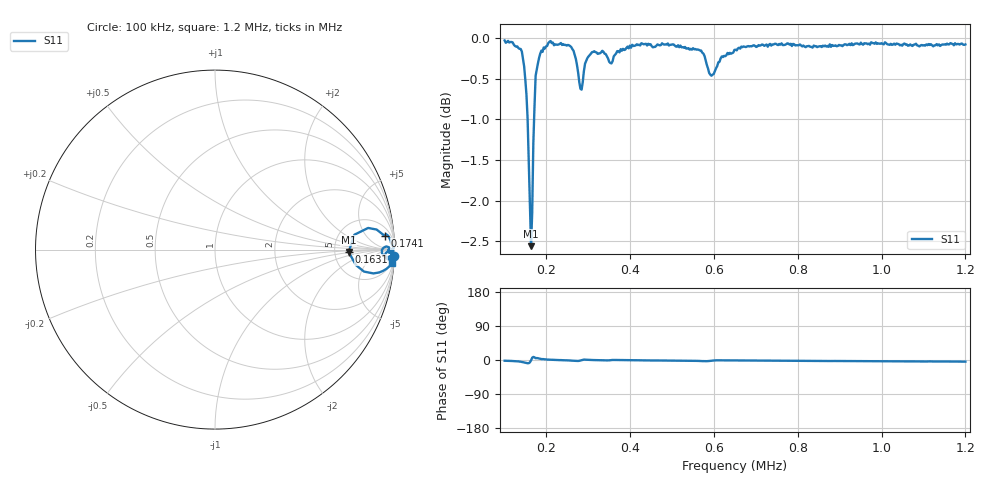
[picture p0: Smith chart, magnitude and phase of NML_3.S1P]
!Agilent Technologies,E5071C,MY46100265,A.07.02
!Date: Wed Mar 04 14:34:05 2020
!Data & Calibration Information:
!Freq	S11:SOLT1(ON)
# Hz S MA R 50
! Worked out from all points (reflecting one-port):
!   402 points, 100 kHz to 1.2 MHz, reference 50 ohm
!   lowest |S11| = -2.6 dB at 163.1 kHz (marker M1), VSWR 6.83, Z = 340 - j20.6 ohm
!   phase of S11 starts at -2 deg and turns -2 deg over the sweep
!   S11 on the Smith chart (normalised r, x): 100 kHz: 6, -59; 163.1 kHz: 6.81, -0.41; 174.1 kHz: 11, +17; 1.2 MHz: 3, -26
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100000  0.9967 -1.9
138404  0.9847 -4.5
146633  0.9608 -6.4
152120  0.9233 -7.9
157606  0.839 -8.4
160349  0.7896 -6.3
163092  0.7447 -1.0
168579  0.8616 8.0
174065  0.9482 4.7
179551  0.9648 4.8
190524  0.9807 2.4
239900  0.9914 -0.6
270075  0.9709 -2.4
281047  0.9307 -1.3
292020  0.9645 0.9
308479  0.9802 0.1
341397  0.9777 -0.8
352369  0.9653 -0.5
377057  0.9844 -0.1
514214  0.99 -1.8
580050  0.969 -3.2
593766  0.9481 -1.9
607481  0.961 -0.8
651372  0.9837 -1.0
788529  0.9918 -2.4
925686  0.9902 -3.0
1062843  0.9893 -3.6
1200000  0.9911 -4.3
